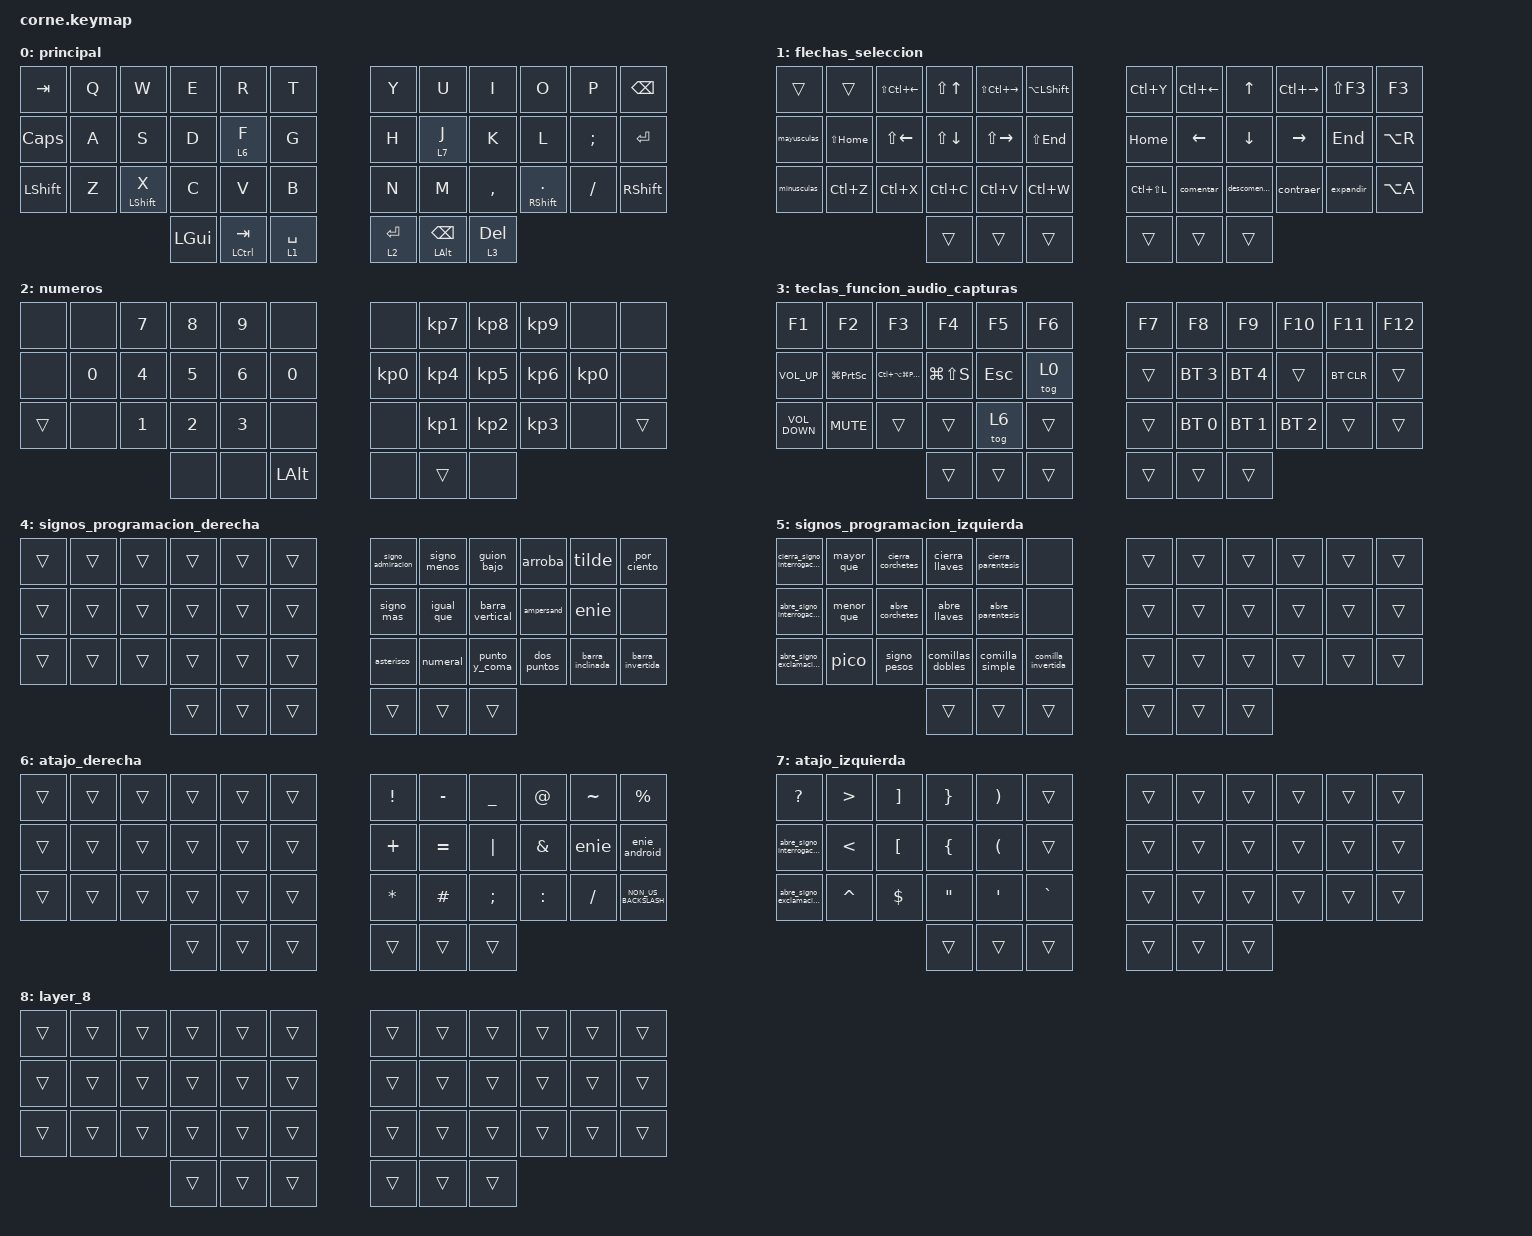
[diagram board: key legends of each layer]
/*
 * Copyright (c) 2020 The ZMK Contributors
 *
 * SPDX-License-Identifier: MIT
 */

#include <behaviors.dtsi>
#include <dt-bindings/zmk/bt.h>
#include <dt-bindings/zmk/keys.h>

/ {
    macros {
        menor_que: menor_a {
            compatible = "zmk,behavior-macro";
            #binding-cells = <0>;
            bindings =
                <&macro_press>,
                <&kp LEFT_ALT &kp KP_NUMBER_6 &kp KP_NUMBER_0>,
                <&macro_release>,
                <&kp LEFT_ALT &kp KP_NUMBER_6 &kp KP_NUMBER_0>;

            label = "MENOR_A";
        };

        mayor_que: mayor_que {
            compatible = "zmk,behavior-macro";
            #binding-cells = <0>;
            bindings =
                <&macro_press>,
                <&kp LEFT_ALT &kp KP_NUMBER_6 &kp KP_NUMBER_2>,
                <&macro_release>,
                <&kp LEFT_ALT &kp KP_NUMBER_6 &kp KP_NUMBER_2>;

            label = "MAYOR_QUE";
        };

        abre_corchetes: abre_corchetes {
            compatible = "zmk,behavior-macro";
            #binding-cells = <0>;
            bindings =
                <&macro_press>,
                <&kp LEFT_ALT &kp KP_NUMBER_9 &kp KP_NUMBER_1>,
                <&macro_release>,
                <&kp LEFT_ALT &kp KP_NUMBER_9 &kp KP_NUMBER_1>;

            label = "ABRE_CORCHETES";
        };

        cierra_corchetes: cierra_corchetes {
            compatible = "zmk,behavior-macro";
            #binding-cells = <0>;
            bindings =
                <&macro_press>,
                <&kp LEFT_ALT &kp KP_NUMBER_9 &kp KP_NUMBER_3>,
                <&macro_release>,
                <&kp LEFT_ALT &kp KP_NUMBER_9 &kp KP_NUMBER_3>;

            label = "CIERRA_CORCHETES";
        };

        abre_llaves: abre_llaves {
            compatible = "zmk,behavior-macro";
            #binding-cells = <0>;
            bindings =
                <&macro_press>,
                <&kp LEFT_ALT &kp KP_NUMBER_1 &kp KP_NUMBER_2 &kp KP_NUMBER_3>,
                <&macro_release>,
                <&kp LEFT_ALT &kp KP_NUMBER_1 &kp KP_NUMBER_2 &kp KP_NUMBER_3>;

            label = "ABRE_LLAVES";
        };

        cierra_llaves: cierra_llaves {
            compatible = "zmk,behavior-macro";
            #binding-cells = <0>;
            bindings =
                <&macro_press>,
                <&kp LEFT_ALT &kp KP_NUMBER_1 &kp KP_NUMBER_2 &kp KP_NUMBER_5>,
                <&macro_release>,
                <&kp LEFT_ALT &kp KP_NUMBER_1 &kp KP_NUMBER_2 &kp KP_NUMBER_5>;

            label = "CIERRA_LLAVES";
        };

        abre_parentesis: abre_parentesis {
            compatible = "zmk,behavior-macro";
            #binding-cells = <0>;
            bindings =
                <&macro_press>,
                <&kp LEFT_ALT &kp KP_NUMBER_4 &kp KP_NUMBER_0>,
                <&macro_release>,
                <&kp LEFT_ALT &kp KP_NUMBER_4 &kp KP_NUMBER_0>;

            label = "ABRE_PARENTESIS";
        };

        cierra_parentesis: cierra_parentesis {
            compatible = "zmk,behavior-macro";
            #binding-cells = <0>;
            bindings =
                <&macro_press>,
                <&kp LEFT_ALT &kp KP_NUMBER_4 &kp KP_NUMBER_1>,
                <&macro_release>,
                <&kp LEFT_ALT &kp KP_NUMBER_4 &kp KP_NUMBER_1>;

            label = "CIERRA_PARENTESIS";
        };

        abre_signo_interrogacion: abre_signo_interrogacion {
            compatible = "zmk,behavior-macro";
            #binding-cells = <0>;
            bindings =
                <&macro_press>,
                <&kp LEFT_ALT &kp KP_NUMBER_1 &kp KP_NUMBER_6 &kp KP_NUMBER_8>,
                <&macro_release>,
                <&kp LEFT_ALT &kp KP_NUMBER_1 &kp KP_NUMBER_6 &kp KP_NUMBER_8>;

            label = "ABRE_SIGNO_INTERROGACION";
        };

        cierra_signo_interrogacion: cierra_signo_interrogacion {
            compatible = "zmk,behavior-macro";
            #binding-cells = <0>;
            bindings =
                <&macro_press>,
                <&kp LEFT_ALT &kp KP_NUMBER_6 &kp KP_NUMBER_3>,
                <&macro_release>,
                <&kp LEFT_ALT &kp KP_NUMBER_6 &kp KP_NUMBER_3>;

            label = "CIERRA_SIGNO_INTERROGACION";
        };

        comillas_dobles: comillas_dobles {
            compatible = "zmk,behavior-macro";
            #binding-cells = <0>;
            bindings =
                <&macro_press>,
                <&kp LEFT_ALT &kp KP_NUMBER_3 &kp KP_NUMBER_4>,
                <&macro_release>,
                <&kp LEFT_ALT &kp KP_NUMBER_3 &kp KP_NUMBER_4>;

            label = "COMILLAS_DOBLES";
        };

        comilla_simple: comilla_simple {
            compatible = "zmk,behavior-macro";
            #binding-cells = <0>;
            bindings =
                <&macro_press>,
                <&kp LEFT_ALT &kp KP_NUMBER_3 &kp KP_NUMBER_9>,
                <&macro_release>,
                <&kp LEFT_ALT &kp KP_NUMBER_3 &kp KP_NUMBER_9>;

            label = "COMILLA_SIMPLE";
        };

        comilla_invertida: comilla_invertida {
            compatible = "zmk,behavior-macro";
            #binding-cells = <0>;
            bindings =
                <&macro_press>,
                <&kp LEFT_ALT &kp KP_NUMBER_9 &kp KP_NUMBER_6>,
                <&macro_release>,
                <&kp LEFT_ALT &kp KP_NUMBER_9 &kp KP_NUMBER_6>;

            label = "COMILLA_INVERTIDA";
        };

        punto_y_coma: punto_y_coma {
            compatible = "zmk,behavior-macro";
            #binding-cells = <0>;
            bindings =
                <&macro_press>,
                <&kp LEFT_ALT &kp KP_NUMBER_5 &kp KP_NUMBER_9>,
                <&macro_release>,
                <&kp LEFT_ALT &kp KP_NUMBER_5 &kp KP_NUMBER_9>;

            label = "PUNTO_Y_COMA";
        };

        dos_puntos: dos_puntos {
            compatible = "zmk,behavior-macro";
            #binding-cells = <0>;
            bindings =
                <&macro_press>,
                <&kp LEFT_ALT &kp KP_NUMBER_5 &kp KP_NUMBER_8>,
                <&macro_release>,
                <&kp LEFT_ALT &kp KP_NUMBER_5 &kp KP_NUMBER_8>;

            label = "DOS_PUNTOS";
        };

        signo_admiracion: signo_admiracion {
            compatible = "zmk,behavior-macro";
            #binding-cells = <0>;
            bindings =
                <&macro_press>,
                <&kp LEFT_ALT &kp KP_NUMBER_3 &kp KP_NUMBER_3>,
                <&macro_release>,
                <&kp LEFT_ALT &kp KP_NUMBER_3 &kp KP_NUMBER_3>;

            label = "SIGNO_ADMIRACION";
        };

        signo_mas: signo_mas {
            compatible = "zmk,behavior-macro";
            #binding-cells = <0>;
            bindings =
                <&macro_press>,
                <&kp LEFT_ALT &kp KP_NUMBER_4 &kp KP_NUMBER_3>,
                <&macro_release>,
                <&kp LEFT_ALT &kp KP_NUMBER_4 &kp KP_NUMBER_3>;

            label = "SIGNO_MAS";
        };

        asterisco: asterisco {
            compatible = "zmk,behavior-macro";
            #binding-cells = <0>;
            bindings =
                <&macro_press>,
                <&kp LEFT_ALT &kp KP_NUMBER_4 &kp KP_NUMBER_2>,
                <&macro_release>,
                <&kp LEFT_ALT &kp KP_NUMBER_4 &kp KP_NUMBER_2>;

            label = "ASTERISCO";
        };

        signo_menos: signo_menos {
            compatible = "zmk,behavior-macro";
            #binding-cells = <0>;
            bindings =
                <&macro_press>,
                <&kp LEFT_ALT &kp KP_NUMBER_4 &kp KP_NUMBER_5>,
                <&macro_release>,
                <&kp LEFT_ALT &kp KP_NUMBER_4 &kp KP_NUMBER_5>;

            label = "SIGNO_MENOS";
        };

        igual_que: igual_que {
            compatible = "zmk,behavior-macro";
            #binding-cells = <0>;
            bindings =
                <&macro_press>,
                <&kp LEFT_ALT &kp KP_NUMBER_6 &kp KP_NUMBER_1>,
                <&macro_release>,
                <&kp LEFT_ALT &kp KP_NUMBER_6 &kp KP_NUMBER_1>;

            label = "IGUAL_QUE";
        };

        signo_pesos: signo_pesos {
            compatible = "zmk,behavior-macro";
            #binding-cells = <0>;
            bindings =
                <&macro_press>,
                <&kp LEFT_ALT &kp KP_NUMBER_3 &kp KP_NUMBER_6>,
                <&macro_release>,
                <&kp LEFT_ALT &kp KP_NUMBER_3 &kp KP_NUMBER_6>;

            label = "SIGNO_PESOS";
        };

        numeral: numeral {
            compatible = "zmk,behavior-macro";
            #binding-cells = <0>;
            bindings =
                <&macro_press>,
                <&kp LEFT_ALT &kp KP_NUMBER_3 &kp KP_NUMBER_5>,
                <&macro_release>,
                <&kp LEFT_ALT &kp KP_NUMBER_3 &kp KP_NUMBER_5>;

            label = "NUMERAL";
        };

        barra_vertical: barra_vertical {
            compatible = "zmk,behavior-macro";
            #binding-cells = <0>;
            bindings =
                <&macro_press>,
                <&kp LEFT_ALT &kp KP_NUMBER_1 &kp KP_NUMBER_2 &kp KP_NUMBER_4>,
                <&macro_release>,
                <&kp LEFT_ALT &kp KP_NUMBER_1 &kp KP_NUMBER_2 &kp KP_NUMBER_4>;

            label = "BARRA_VERTICAL";
        };

        guion_bajo: guion_bajo {
            compatible = "zmk,behavior-macro";
            #binding-cells = <0>;
            bindings =
                <&macro_press>,
                <&kp LEFT_ALT &kp KP_NUMBER_9 &kp KP_NUMBER_5>,
                <&macro_release>,
                <&kp LEFT_ALT &kp KP_NUMBER_9 &kp KP_NUMBER_5>;

            label = "GUION_BAJO";
        };

        arroba: arroba {
            compatible = "zmk,behavior-macro";
            #binding-cells = <0>;
            bindings =
                <&macro_press>,
                <&kp LEFT_ALT &kp KP_NUMBER_6 &kp KP_NUMBER_4>,
                <&macro_release>,
                <&kp LEFT_ALT &kp KP_NUMBER_6 &kp KP_NUMBER_4>;

            label = "ARROBA";
        };

        ampersand: ampersand {
            compatible = "zmk,behavior-macro";
            #binding-cells = <0>;
            bindings =
                <&macro_press>,
                <&kp LEFT_ALT &kp KP_NUMBER_3 &kp KP_NUMBER_8>,
                <&macro_release>,
                <&kp LEFT_ALT &kp KP_NUMBER_3 &kp KP_NUMBER_8>;

            label = "AMPERSAND";
        };

        pico: pico {
            compatible = "zmk,behavior-macro";
            #binding-cells = <0>;
            bindings =
                <&macro_press>,
                <&kp LEFT_ALT &kp KP_NUMBER_9 &kp KP_NUMBER_4>,
                <&macro_release>,
                <&kp LEFT_ALT &kp KP_NUMBER_9 &kp KP_NUMBER_4>;

            label = "PICO";
        };

        tilde: tilde {
            compatible = "zmk,behavior-macro";
            #binding-cells = <0>;
            bindings =
                <&macro_press>,
                <&kp LEFT_ALT &kp KP_NUMBER_1 &kp KP_NUMBER_2 &kp KP_NUMBER_6>,
                <&macro_release>,
                <&kp LEFT_ALT &kp KP_NUMBER_1 &kp KP_NUMBER_2 &kp KP_NUMBER_6>;

            label = "TILDE";
        };

        por_ciento: por_ciento {
            compatible = "zmk,behavior-macro";
            #binding-cells = <0>;
            bindings =
                <&macro_press>,
                <&kp LEFT_ALT &kp KP_NUMBER_3 &kp KP_NUMBER_7>,
                <&macro_release>,
                <&kp LEFT_ALT &kp KP_NUMBER_3 &kp KP_NUMBER_7>;

            label = "POR_CIENTO";
        };

        barra_invertida: barra_invertida {
            compatible = "zmk,behavior-macro";
            #binding-cells = <0>;
            bindings =
                <&macro_press>,
                <&kp LEFT_ALT &kp KP_NUMBER_9 &kp KP_NUMBER_2>,
                <&macro_release>,
                <&kp LEFT_ALT &kp KP_NUMBER_9 &kp KP_NUMBER_2>;

            label = "BARRA_INVERTIDA";
        };

        barra_inclinada: barra_inclinada {
            compatible = "zmk,behavior-macro";
            #binding-cells = <0>;
            bindings =
                <&macro_press>,
                <&kp LEFT_ALT &kp KP_NUMBER_4 &kp KP_NUMBER_7>,
                <&macro_release>,
                <&kp LEFT_ALT &kp KP_NUMBER_4 &kp KP_NUMBER_7>;

            label = "BARRA_INCLINADA";
        };

        enie: enie {
            compatible = "zmk,behavior-macro";
            #binding-cells = <0>;
            bindings =
                <&macro_press>,
                <&kp LEFT_ALT &kp KP_NUMBER_1 &kp KP_NUMBER_6 &kp KP_NUMBER_4>,
                <&macro_release>,
                <&kp LEFT_ALT &kp KP_NUMBER_1 &kp KP_NUMBER_6 &kp KP_NUMBER_4>;

            label = "ENIE";
        };

        enie_android: enie_android {
            compatible = "zmk,behavior-macro";
            #binding-cells = <0>;
            bindings = <&macro_press>, <&kp N &kp GRAVE>, <&macro_release>;

            label = "ENIE_ANDROID";
        };

        abre_signo_exclamacion: abre_signo_exclamacion {
            compatible = "zmk,behavior-macro";
            #binding-cells = <0>;
            bindings =
                <&macro_press>,
                <&kp LEFT_ALT &kp KP_NUMBER_1 &kp KP_NUMBER_7 &kp KP_NUMBER_3>,
                <&macro_release>,
                <&kp LEFT_ALT &kp KP_NUMBER_1 &kp KP_NUMBER_7 &kp KP_NUMBER_3>;

            label = "ABRE_SIGNO_EXCLAMACION";
        };

        comentar: comentar {
            compatible = "zmk,behavior-macro";
            #binding-cells = <0>;
            bindings =
                <&macro_press>,
                <&kp LEFT_CONTROL>,
                <&macro_tap>,
                <&kp K &kp C>,
                <&macro_release>,
                <&kp LEFT_CONTROL>;

            label = "COMENTAR";
        };

        descomentar: descomentar {
            compatible = "zmk,behavior-macro";
            #binding-cells = <0>;
            bindings =
                <&macro_press>,
                <&kp LEFT_CONTROL>,
                <&macro_tap>,
                <&kp K &kp U>,
                <&macro_release>,
                <&kp LEFT_CONTROL>;

            label = "DESCOMENTAR";
        };

        expandir: expandir {
            compatible = "zmk,behavior-macro";
            #binding-cells = <0>;
            bindings =
                <&macro_press>,
                <&kp LEFT_CONTROL>,
                <&macro_tap>,
                <&kp M &kp L>,
                <&macro_release>,
                <&kp LEFT_CONTROL>;

            label = "EXPANDIR";
        };

        contraer: contraer {
            compatible = "zmk,behavior-macro";
            #binding-cells = <0>;
            bindings =
                <&macro_press>,
                <&kp LEFT_CONTROL>,
                <&macro_tap>,
                <&kp M &kp O>,
                <&macro_release>,
                <&kp LEFT_CONTROL>;

            label = "CONTRAER";
        };

        mayusculas: mayusculas {
            compatible = "zmk,behavior-macro";
            #binding-cells = <0>;
            bindings =
                <&macro_press>,
                <&kp LCTRL &kp LEFT_SHIFT &kp U>,
                <&macro_release>,
                <&kp LCTRL &kp LEFT_SHIFT &kp U>;

            label = "MAYUSCULAS";
        };

        minusculas: minusculas {
            compatible = "zmk,behavior-macro";
            #binding-cells = <0>;
            bindings =
                <&macro_press>,
                <&kp LCTRL &kp U>,
                <&macro_release>,
                <&kp LCTRL &kp U>;

            label = "MINUSCULAS";
        };
    };

    keymap {
        compatible = "zmk,keymap";

        principal {
            bindings = <
&kp TAB       &kp Q  &kp W             &kp E     &kp R          &kp T          &kp Y        &kp U                   &kp I         &kp O                &kp P      &kp BACKSPACE
&kp CAPSLOCK  &kp A  &kp S             &kp D     &lt 6 F        &kp G          &kp H        &lt 7 J                 &kp K         &kp L                &kp SEMI   &kp ENTER
&kp LSHFT     &kp Z  &mt LEFT_SHIFT X  &kp C     &kp V          &kp B          &kp N        &kp M                   &kp COMMA     &mt RIGHT_SHIFT DOT  &kp SLASH  &kp RSHFT
                                       &kp LGUI  &mt LCTRL TAB  &lt 1 SPACE    &lt 2 ENTER  &mt LEFT_ALT BACKSPACE  &lt 3 DELETE
            >;
        };

        flechas_seleccion {
            bindings = <
&trans       &trans        &kp LS(LC(LEFT))  &kp LS(UP_ARROW)  &kp LS(LC(RIGHT))  &kp LA(LEFT_SHIFT)    &kp LC(Y)      &kp LC(LEFT_ARROW)  &kp UP_ARROW  &kp LC(RIGHT)  &kp LS(F3)  &kp F3
&mayusculas  &kp LS(HOME)  &kp LS(LEFT)      &kp LS(DOWN)      &kp LS(RIGHT)      &kp LS(END)           &kp HOME       &kp LEFT            &kp DOWN      &kp RIGHT      &kp END     &kp LA(R)
&minusculas  &kp LC(Z)     &kp LC(X)         &kp LC(C)         &kp LC(V)          &kp LC(W)             &kp LC(LS(L))  &comentar           &descomentar  &contraer      &expandir   &kp LA(A)
                                             &trans            &trans             &trans                &trans         &trans              &trans
            >;
        };

        numeros {
            bindings = <
&none   &none         &kp N7        &kp N8        &kp N9        &none           &none            &kp KP_NUMBER_7  &kp KP_NUMBER_8  &kp KP_NUMBER_9  &none            &none
&none   &kp NUMBER_0  &kp NUMBER_4  &kp N5        &kp NUMBER_6  &kp N0          &kp KP_NUMBER_0  &kp KP_NUMBER_4  &kp KP_NUMBER_5  &kp KP_NUMBER_6  &kp KP_NUMBER_0  &none
&trans  &none         &kp NUMBER_1  &kp NUMBER_2  &kp NUMBER_3  &none           &none            &kp KP_NUMBER_1  &kp KP_NUMBER_2  &kp KP_NUMBER_3  &none            &trans
                                    &none         &none         &kp LEFT_ALT    &none            &trans           &none
            >;
        };

        teclas_funcion_audio_capturas {
            bindings = <
&kp F1             &kp F2               &kp F3                       &kp F4         &kp F5      &kp F6    &kp F7  &kp F8        &kp F9        &kp F10       &kp F11     &kp F12
&kp C_VOLUME_UP    &kp LG(PRINTSCREEN)  &kp LC(LA(LG(PRINTSCREEN)))  &kp LG(LS(S))  &kp ESCAPE  &tog 0    &trans  &bt BT_SEL 3  &bt BT_SEL 4  &trans        &bt BT_CLR  &trans
&kp C_VOLUME_DOWN  &kp C_MUTE           &trans                       &trans         &tog 6      &trans    &trans  &bt BT_SEL 0  &bt BT_SEL 1  &bt BT_SEL 2  &trans      &trans
                                                                     &trans         &trans      &trans    &trans  &trans        &trans
            >;
        };

        signos_programacion_derecha {
            bindings = <
&trans  &trans  &trans  &trans  &trans  &trans    &signo_admiracion  &signo_menos  &guion_bajo      &arroba      &tilde            &por_ciento
&trans  &trans  &trans  &trans  &trans  &trans    &signo_mas         &igual_que    &barra_vertical  &ampersand   &enie             &none
&trans  &trans  &trans  &trans  &trans  &trans    &asterisco         &numeral      &punto_y_coma    &dos_puntos  &barra_inclinada  &barra_invertida
                        &trans  &trans  &trans    &trans             &trans        &trans
            >;
        };

        signos_programacion_izquierda {
            bindings = <
&cierra_signo_interrogacion  &mayor_que  &cierra_corchetes  &cierra_llaves    &cierra_parentesis  &none                 &trans  &trans  &trans  &trans  &trans  &trans
&abre_signo_interrogacion    &menor_que  &abre_corchetes    &abre_llaves      &abre_parentesis    &none                 &trans  &trans  &trans  &trans  &trans  &trans
&abre_signo_exclamacion      &pico       &signo_pesos       &comillas_dobles  &comilla_simple     &comilla_invertida    &trans  &trans  &trans  &trans  &trans  &trans
                                                            &trans            &trans              &trans                &trans  &trans  &trans
            >;
        };

        atajo_derecha {
            bindings = <
&trans  &trans  &trans  &trans  &trans  &trans    &kp EXCLAMATION  &kp MINUS  &kp UNDERSCORE  &kp AT_SIGN    &kp TILDE  &kp PERCENT
&trans  &trans  &trans  &trans  &trans  &trans    &kp PLUS         &kp EQUAL  &kp PIPE        &kp AMPERSAND  &enie      &enie_android
&trans  &trans  &trans  &trans  &trans  &trans    &kp ASTERISK     &kp HASH   &kp SEMICOLON   &kp COLON      &kp SLASH  &kp NON_US_BACKSLASH
                        &trans  &trans  &trans    &trans           &trans     &trans
            >;
        };

        atajo_izquierda {
            bindings = <
&kp QUESTION               &kp GREATER_THAN  &kp RIGHT_BRACKET  &kp RIGHT_BRACE    &kp RIGHT_PARENTHESIS  &trans       &trans  &trans  &trans  &trans  &trans  &trans
&abre_signo_interrogacion  &kp LESS_THAN     &kp LEFT_BRACKET   &kp LEFT_BRACE     &kp LEFT_PARENTHESIS   &trans       &trans  &trans  &trans  &trans  &trans  &trans
&abre_signo_exclamacion    &kp CARET         &kp DOLLAR         &kp DOUBLE_QUOTES  &kp SQT                &kp GRAVE    &trans  &trans  &trans  &trans  &trans  &trans
                                                                &trans             &trans                 &trans       &trans  &trans  &trans
            >;
        };

        layer_8 {
            bindings = <
&trans  &trans  &trans  &trans  &trans  &trans    &trans  &trans  &trans  &trans  &trans  &trans
&trans  &trans  &trans  &trans  &trans  &trans    &trans  &trans  &trans  &trans  &trans  &trans
&trans  &trans  &trans  &trans  &trans  &trans    &trans  &trans  &trans  &trans  &trans  &trans
                        &trans  &trans  &trans    &trans  &trans  &trans
            >;
        };
    };
};
